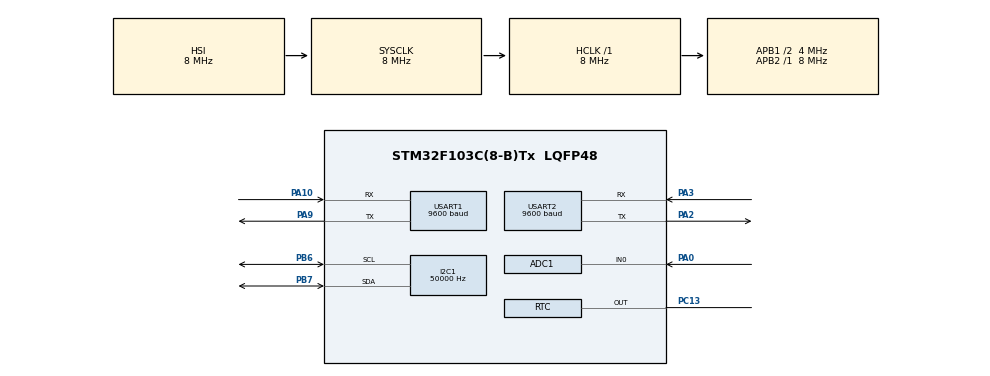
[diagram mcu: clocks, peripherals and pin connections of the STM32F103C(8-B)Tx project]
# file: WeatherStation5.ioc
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ADC1.Channel-0\#ChannelRegularConversion=ADC_CHANNEL_0
ADC1.ContinuousConvMode=ENABLE
ADC1.NbrOfConversionFlag=1
ADC1.Rank-0\#ChannelRegularConversion=1
ADC1.SamplingTime-0\#ChannelRegularConversion=ADC_SAMPLETIME_1CYCLE_5
ADC1.master=1
I2C1.ClockSpeed=50000
Mcu.Family=STM32F1
Mcu.Name=STM32F103C(8-B)Tx
Mcu.Package=LQFP48
NVIC.I2C1_EV_IRQn=true\:0\:0\:false\:false\:true\:true\:true\:true
NVIC.PriorityGroup=NVIC_PRIORITYGROUP_4
NVIC.USART1_IRQn=true\:0\:0\:false\:false\:true\:true\:true\:true
PA0-WKUP.Signal=ADCx_IN0
PA10.Mode=Asynchronous
PA10.Signal=USART1_RX
PA13.Mode=Serial_Wire
PA13.Signal=SYS_JTMS-SWDIO
PA14.Mode=Serial_Wire
PA14.Signal=SYS_JTCK-SWCLK
PA2.Mode=Asynchronous
PA2.Signal=USART2_TX
PA3.Mode=Asynchronous
PA3.Signal=USART2_RX
PA9.Mode=Asynchronous
PA9.Signal=USART1_TX
PB6.Mode=I2C
PB6.Signal=I2C1_SCL
PB7.Mode=I2C
PB7.Signal=I2C1_SDA
PC13-TAMPER-RTC.Mode=RTC OUT
PC13-TAMPER-RTC.Signal=RTC_OUT
ProjectManager.HeapSize=0x200
ProjectManager.StackSize=0x400
ProjectManager.TargetToolchain=STM32CubeIDE
RCC.ADCPresc=RCC_ADCPCLK2_DIV4
RCC.AHBFreq_Value=8000000
RCC.APB1CLKDivider=RCC_HCLK_DIV2
RCC.APB1Freq_Value=4000000
RCC.APB1TimFreq_Value=8000000
RCC.APB2Freq_Value=8000000
RCC.APB2TimFreq_Value=8000000
RCC.HCLKFreq_Value=8000000
RCC.PLLMUL=RCC_PLL_MUL9
RCC.SYSCLKFreq_VALUE=8000000
RCC.USBFreq_Value=36000000
RTC.AutoPrediv=RTC_AUTO_1_SECOND
RTC.Format=RTC_FORMAT_BIN
SH.ADCx_IN0.0=ADC1_IN0,IN0
USART1.BaudRate=9600
USART1.VirtualMode=VM_ASYNC
USART2.BaudRate=9600
USART2.VirtualMode=VM_ASYNC
VP_RTC_VS_RTC_Activate.Mode=RTC_Enabled
VP_RTC_VS_RTC_Calendar.Mode=RTC_Calendar
board=custom

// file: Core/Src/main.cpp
/* USER CODE BEGIN Header */
/**
  ******************************************************************************
  * @file           : main.c
  * @brief          : Main program body
  ******************************************************************************
  * @attention
  *
  * Copyright (c) 2023 STMicroelectronics.
  * All rights reserved.
  *
  * This software is licensed under terms that can be found in the LICENSE file
  * in the root directory of this software component.
  * If no LICENSE file comes with this software, it is provided AS-IS.
  *
  ******************************************************************************
  */
/* USER CODE END Header */
#include "main.h"

/* USER CODE BEGIN Includes */
#include <sim900a.h>
#include <utilfunctions.h>
#include <time.h>
#include "stm32f1xx.h"
#include <am2320.h>
#include <battery_reader.h>
#define MAX_MEASURE_RETRIES 5
#define MAX_MQTT_PUBLISH_RETRIES 3
#define AM2320_I2C_ADDR = 0x5C<<1;
using namespace std;
Measure measures;
SIM900A sim900a;
BatteryReader bateryReader;

/* USER CODE END Includes */

I2C_HandleTypeDef hi2c1;
ADC_HandleTypeDef hadc1;
RTC_HandleTypeDef hrtc;

UART_HandleTypeDef huart1;
UART_HandleTypeDef huart2;

void SystemClock_Config(void);
static void MX_GPIO_Init(void);
static void MX_USART2_UART_Init(void);
static void MX_I2C1_Init(void);
static void MX_USART1_UART_Init(void);
static void MX_RTC_Init(void);
static void MX_ADC1_Init(void);

int main(void)
{

  /* MCU Configuration--------------------------------------------------------*/

  /* Reset of all peripherals, Initializes the Flash interface and the Systick. */
  HAL_Init();

  /* Configure the system clock */
  SystemClock_Config();
  HAL_ResumeTick();

  /* Initialize all configured peripherals */
  MX_GPIO_Init();
  MX_USART2_UART_Init();
  MX_I2C1_Init();
  MX_USART1_UART_Init();
  MX_RTC_Init();
  MX_ADC1_Init();
  /* USER CODE BEGIN 2 */
  //Init
   if (__HAL_PWR_GET_FLAG(PWR_FLAG_SB) != RESET)
   {
	   __HAL_PWR_CLEAR_FLAG(PWR_FLAG_SB);
	   __HAL_PWR_CLEAR_FLAG(PWR_FLAG_WU);
   }
   HAL_PWR_EnableBkUpAccess();

   enablePeripherals();
   HAL_Delay(1000);

   Am2320_HandleTypeDef Am2320_;
   bateryReader.initBatteryLevel(hadc1);
   Am2320_ = am2320_Init(&hi2c1,AM2320_ADDRESS);
   measures.humidity = -1;
   measures.temperature = -300;
   //Make measurement
   int measurementTries = 0;
	do {
		if(measurementTries) {// Wait if it is a retry
			HAL_Delay(1000);
		}
		float temperature, humidity;
		am2320_GetTemperatureAndHumidity(&Am2320_, &temperature, &humidity);
		measures.humidity = humidity;
		measures.temperature = temperature;
		measures.battery = bateryReader.getBatteryLevel();//45 por ajuste de error (con condensador). Sin condensador son 30
		measurementTries++;
		//If measure is wrong, then retry up to MAX_MEASURE_RETRIES
	} while((measures.humidity == 0 || measures.temperature == 0) && measurementTries < MAX_MEASURE_RETRIES);

	//Config GSM
   if(sim900a.init()){
	   // GSM started
	   int publish_Tries = 0;
	   //Send measurement to server
	   while(!sendMeasuresToServer(measures) && publish_Tries < MAX_MQTT_PUBLISH_RETRIES){
		   HAL_Delay(3000);
		   publish_Tries++;
	   }
   }

   //Disconnect and finish
   sim900a.shutdown();

   disablePeripherals();

   sleepForNextMeasure();
   /* USER CODE END 2 */

   /* Infinite loop */
   while (1)
   {

   }
}

void SystemClock_Config(void)
{
  RCC_OscInitTypeDef RCC_OscInitStruct = {0};
  RCC_ClkInitTypeDef RCC_ClkInitStruct = {0};
  RCC_PeriphCLKInitTypeDef PeriphClkInit = {0};

  /** Initializes the RCC Oscillators according to the specified parameters
  * in the RCC_OscInitTypeDef structure.
  */
  RCC_OscInitStruct.OscillatorType = RCC_OSCILLATORTYPE_HSI|RCC_OSCILLATORTYPE_LSI;
  RCC_OscInitStruct.HSIState = RCC_HSI_ON;
  RCC_OscInitStruct.HSICalibrationValue = RCC_HSICALIBRATION_DEFAULT;
  RCC_OscInitStruct.LSIState = RCC_LSI_ON;
  RCC_OscInitStruct.PLL.PLLState = RCC_PLL_NONE;
  if (HAL_RCC_OscConfig(&RCC_OscInitStruct) != HAL_OK)
  {
    Error_Handler();
  }

  /** Initializes the CPU, AHB and APB buses clocks
  */
  RCC_ClkInitStruct.ClockType = RCC_CLOCKTYPE_HCLK|RCC_CLOCKTYPE_SYSCLK
                              |RCC_CLOCKTYPE_PCLK1|RCC_CLOCKTYPE_PCLK2;
  RCC_ClkInitStruct.SYSCLKSource = RCC_SYSCLKSOURCE_HSI;
  RCC_ClkInitStruct.AHBCLKDivider = RCC_SYSCLK_DIV1;
  RCC_ClkInitStruct.APB1CLKDivider = RCC_HCLK_DIV2;
  RCC_ClkInitStruct.APB2CLKDivider = RCC_HCLK_DIV1;

  if (HAL_RCC_ClockConfig(&RCC_ClkInitStruct, FLASH_LATENCY_0) != HAL_OK)
  {
    Error_Handler();
  }
  PeriphClkInit.PeriphClockSelection = RCC_PERIPHCLK_RTC;
  PeriphClkInit.RTCClockSelection = RCC_RTCCLKSOURCE_LSI;
  if (HAL_RCCEx_PeriphCLKConfig(&PeriphClkInit) != HAL_OK)
  {
    Error_Handler();
  }
}
static void MX_ADC1_Init(void)
{

 ADC_ChannelConfTypeDef sConfig = {0};

 /** Common config
 */
 hadc1.Instance = ADC1;
 hadc1.Init.ScanConvMode = ADC_SCAN_DISABLE;
 hadc1.Init.ContinuousConvMode = ENABLE;
 hadc1.Init.DiscontinuousConvMode = DISABLE;
 hadc1.Init.ExternalTrigConv = ADC_SOFTWARE_START;
 hadc1.Init.DataAlign = ADC_DATAALIGN_RIGHT;
 hadc1.Init.NbrOfConversion = 1;
 if (HAL_ADC_Init(&hadc1) != HAL_OK)
 {
   Error_Handler();
 }

 /** Configure Regular Channel
 */
 sConfig.Channel = ADC_CHANNEL_0;
 sConfig.Rank = ADC_REGULAR_RANK_1;
 sConfig.SamplingTime = ADC_SAMPLETIME_13CYCLES_5;
 if (HAL_ADC_ConfigChannel(&hadc1, &sConfig) != HAL_OK)
 {
   Error_Handler();
 }

}

static void MX_I2C1_Init(void)
{

  hi2c1.Instance = I2C1;
  hi2c1.Init.ClockSpeed = 50000;
  hi2c1.Init.DutyCycle = I2C_DUTYCYCLE_2;
  hi2c1.Init.OwnAddress1 = 0;
  hi2c1.Init.AddressingMode = I2C_ADDRESSINGMODE_7BIT;
  hi2c1.Init.DualAddressMode = I2C_DUALADDRESS_DISABLE;
  hi2c1.Init.OwnAddress2 = 0;
  hi2c1.Init.GeneralCallMode = I2C_GENERALCALL_DISABLE;
  hi2c1.Init.NoStretchMode = I2C_NOSTRETCH_DISABLE;
  if (HAL_I2C_Init(&hi2c1) != HAL_OK)
  {
    Error_Handler();
  }

}

static void MX_RTC_Init(void)
{

  RTC_TimeTypeDef sTime = {0};
  RTC_DateTypeDef DateToUpdate = {0};
  RTC_AlarmTypeDef sAlarm = {0};

  /** Initialize RTC Only
  */
  hrtc.Instance = RTC;
  hrtc.Init.AsynchPrediv = RTC_AUTO_1_SECOND;
  hrtc.Init.OutPut = RTC_OUTPUTSOURCE_ALARM;
  if (HAL_RTC_Init(&hrtc) != HAL_OK)
  {
    Error_Handler();
  }

  /** Initialize RTC and set the Time and Date
  */
  sTime.Hours = 0;
  sTime.Minutes = 0;
  sTime.Seconds = 0;

  if (HAL_RTC_SetTime(&hrtc, &sTime, RTC_FORMAT_BIN) != HAL_OK)
  {
    Error_Handler();
  }
  DateToUpdate.WeekDay = RTC_WEEKDAY_MONDAY;
  DateToUpdate.Month = RTC_MONTH_JANUARY;
  DateToUpdate.Date = 1;
  DateToUpdate.Year = 0;

  if (HAL_RTC_SetDate(&hrtc, &DateToUpdate, RTC_FORMAT_BIN) != HAL_OK)
  {
    Error_Handler();
  }

  /** Enable the Alarm A
  */
  /*sAlarm.AlarmTime.Hours = 0;
  sAlarm.AlarmTime.Minutes = 0;
  sAlarm.AlarmTime.Seconds = 0;
  sAlarm.Alarm = RTC_ALARM_A;
  if (HAL_RTC_SetAlarm(&hrtc, &sAlarm, RTC_FORMAT_BIN) != HAL_OK)
  {
    Error_Handler();
  }*/

}

static void MX_USART1_UART_Init(void)
{

  huart1.Instance = USART1;
  huart1.Init.BaudRate = 9600;
  huart1.Init.WordLength = UART_WORDLENGTH_8B;
  huart1.Init.StopBits = UART_STOPBITS_1;
  huart1.Init.Parity = UART_PARITY_NONE;
  huart1.Init.Mode = UART_MODE_TX_RX;
  huart1.Init.HwFlowCtl = UART_HWCONTROL_NONE;
  huart1.Init.OverSampling = UART_OVERSAMPLING_16;
  if (HAL_UART_Init(&huart1) != HAL_OK)
  {
    Error_Handler();
  }

}

static void MX_USART2_UART_Init(void)
{

  huart2.Instance = USART2;
  huart2.Init.BaudRate = 9600;
  huart2.Init.WordLength = UART_WORDLENGTH_8B;
  huart2.Init.StopBits = UART_STOPBITS_1;
  huart2.Init.Parity = UART_PARITY_NONE;
  huart2.Init.Mode = UART_MODE_TX_RX;
  huart2.Init.HwFlowCtl = UART_HWCONTROL_NONE;
  huart2.Init.OverSampling = UART_OVERSAMPLING_16;
  if (HAL_UART_Init(&huart2) != HAL_OK)
  {
    Error_Handler();
  }

}

static void MX_GPIO_Init(void)
{

  /* GPIO Ports Clock Enable */
  __HAL_RCC_GPIOC_CLK_ENABLE();
  __HAL_RCC_GPIOA_CLK_ENABLE();
  __HAL_RCC_GPIOB_CLK_ENABLE();

}

void Error_Handler(void)
{
  __disable_irq();
  while (1)
  {
  }
}
